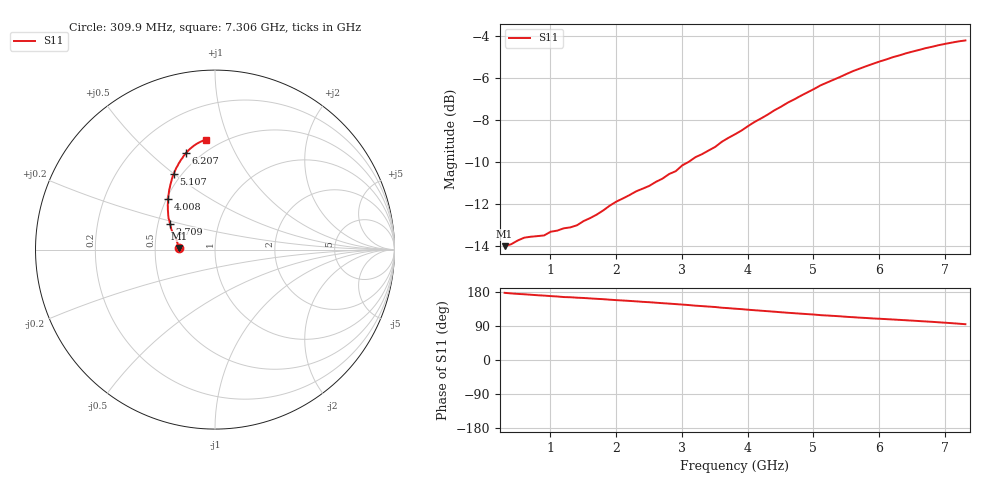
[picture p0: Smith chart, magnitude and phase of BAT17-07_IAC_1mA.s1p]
! Infineon Technologies  Discrete & RF Semiconductors
! BAT17-07
! IAC = 1 mA
! One-Port S-Parameters
# Hz  S  MA  R  50
!f  S11
!Hz  Mag  Ang
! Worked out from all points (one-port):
!   71 points, 309.9 MHz to 7.306 GHz, reference 50 ohm
!   lowest |S11| = -14.0 dB at 309.9 MHz (marker M1), VSWR 1.50, Z = 33.4 + j0.659 ohm
!   |S11| at or under -10 dB: start of sweep to 3.097 GHz
!   S11 on the Smith chart (normalised r, x): 309.9 MHz: 0.67, +0.01; 2.709 GHz: 0.58, +0.18; 4.008 GHz: 0.51, +0.34; 5.107 GHz: 0.46, +0.50; 6.207 GHz: 0.42, +0.65; 7.306 GHz: 0.42, +0.83
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3.0985e8  0.1998 177.3
4.098e8  0.2019 175.7
6.097e8  0.2093 173.5
9.0955e8  0.2119 169.9
1.0095e9  0.2162 168.7
1.2094e9  0.2203 166.1
1.4093e9  0.224 164.4
1.8091e9  0.243 160.5
2.10895e9  0.2594 157.0
2.70865e9  0.2891 149.9
2.8086e9  0.2964 148.8
2.90855e9  0.301 147.5
3.0085e9  0.3108 146.3
3.50825e9  0.3438 139.8
3.6082e9  0.3535 138.0
3.8081e9  0.3682 135.4
4.008e9  0.3853 132.7
4.4078e9  0.4199 127.4
4.70765e9  0.4456 123.5
5.0075e9  0.4716 119.9
5.10745e9  0.4811 118.4
5.4073e9  0.5041 115.3
5.6072e9  0.5206 112.9
6.2069e9  0.5613 106.9
6.50675e9  0.5788 103.8
6.8066e9  0.5944 100.7
7.10645e9  0.608 97.1
7.30635e9  0.6149 94.5
